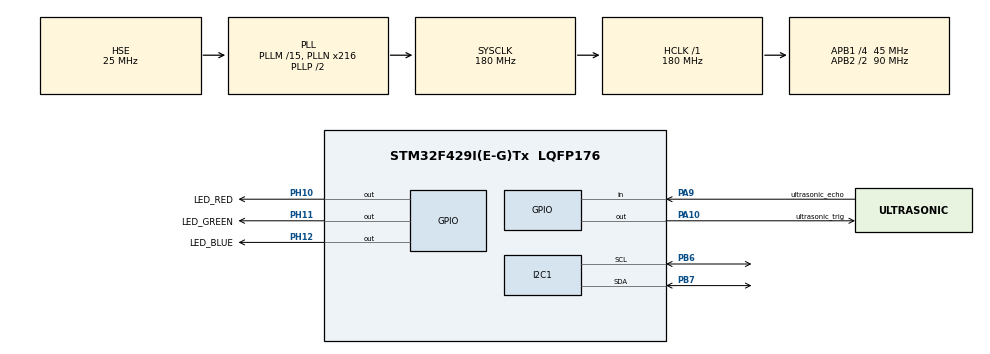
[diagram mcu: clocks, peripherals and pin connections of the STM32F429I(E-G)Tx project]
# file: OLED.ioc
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Mcu.Family=STM32F4
RCC.PLLSourceVirtual=RCC_PLLSOURCE_HSE
RCC.CortexFreq_Value=180000000
PH12.Signal=GPIO_Output
PH10.Signal=GPIO_Output
PH11.Signal=GPIO_Output
PH12.GPIO_Label=LED_BLUE
PH12.GPIO_Speed=GPIO_SPEED_FREQ_HIGH
PH10.PinState=GPIO_PIN_SET
PA10.GPIO_PuPd=GPIO_PULLUP
PA9.GPIO_Label=ultrasonic_echo
RCC.APB1CLKDivider=RCC_HCLK_DIV4
PH10.GPIO_PuPd=GPIO_PULLDOWN
RCC.SYSCLKSource=RCC_SYSCLKSOURCE_PLLCLK
ProjectManager.StackSize=0x400
PH11.GPIO_PuPd=GPIO_PULLDOWN
VP_TIM7_VS_ClockSourceINT.Mode=Enable_Timer
PA13.Signal=SYS_JTMS-SWDIO
PH11.GPIO_Speed=GPIO_SPEED_FREQ_HIGH
ProjectManager.TargetToolchain=STM32CubeIDE
PH0/OSC_IN.Mode=HSE-External-Oscillator
RCC.HCLKFreq_Value=180000000
PH11.PinState=GPIO_PIN_SET
RCC.APB2TimFreq_Value=180000000
PA9.Signal=GPIO_Input
PH11.GPIO_Label=LED_GREEN
PB6.Signal=I2C1_SCL
PH1/OSC_OUT.Signal=RCC_OSC_OUT
PB6.Mode=I2C
RCC.LSE_VALUE=32768
RCC.AHBFreq_Value=180000000
PH10.GPIO_Label=LED_RED
RCC.HSE_VALUE=25000000
PB3.Mode=Trace_Asynchronous_SW
TIM7.Prescaler=179
board=custom
RCC.VCOOutputFreq_Value=360000000
PH0/OSC_IN.Signal=RCC_OSC_IN
RCC.APB2Freq_Value=90000000
PA14.Mode=Trace_Asynchronous_SW
PA10.GPIO_Label=ultrasonic_trig
PB7.Signal=I2C1_SDA
PA13.Mode=Trace_Asynchronous_SW
PH1/OSC_OUT.Mode=HSE-External-Oscillator
Mcu.Name=STM32F429I(E-G)Tx
RCC.48MHZClocksFreq_Value=90000000
PB3.Signal=SYS_JTDO-SWO
RCC.SYSCLKFreq_VALUE=180000000
Mcu.Package=LQFP176
PH10.GPIO_Speed=GPIO_SPEED_FREQ_HIGH
PB7.Mode=I2C
PH12.PinState=GPIO_PIN_SET
PA10.Signal=GPIO_Output
PA14.Signal=SYS_JTCK-SWCLK
ProjectManager.HeapSize=0x200
RCC.HSI_VALUE=16000000
PA10.GPIO_Speed=GPIO_SPEED_FREQ_HIGH
NVIC.PriorityGroup=NVIC_PRIORITYGROUP_4
RCC.APB2CLKDivider=RCC_HCLK_DIV2
RCC.PLLM=15
RCC.PLLN=216
RCC.APB1TimFreq_Value=90000000
PH12.GPIO_PuPd=GPIO_PULLDOWN
RCC.APB1Freq_Value=45000000
NVIC.TIM7_IRQn=true\:0\:0\:false\:false\:true\:true\:true

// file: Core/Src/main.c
/* USER CODE BEGIN Header */
/**
 ******************************************************************************
 * @file           : main.c
 * @brief          : Main program body
 ******************************************************************************
 * @attention
 *
 * <h2><center>&copy; Copyright (c) 2021 STMicroelectronics.
 * All rights reserved.</center></h2>
 *
 * This software component is licensed by ST under BSD 3-Clause license,
 * the "License"; You may not use this file except in compliance with the
 * License. You may obtain a copy of the License at:
 *                        opensource.org/licenses/BSD-3-Clause
 *
 ******************************************************************************
 */
/* USER CODE END Header */
#include "main.h"
#include "i2c.h"
#include "tim.h"
#include "gpio.h"

/* USER CODE BEGIN Includes */
#include "data_code_tbl.h"
#include "oled.h"
#include "delay.h"
#include <stdlib.h>
#include <string.h>
/* USER CODE END Includes */

/* USER CODE BEGIN PV */
uint8_t  first_flag = 1;
uint8_t err = 0;
/* USER CODE END PV */

void SystemClock_Config(void);

int main(void)
{

  /* MCU Configuration--------------------------------------------------------*/

  /* Reset of all peripherals, Initializes the Flash interface and the Systick. */
  HAL_Init();

  /* Configure the system clock */
  SystemClock_Config();

  /* Initialize all configured peripherals */
  MX_GPIO_Init();
  MX_I2C1_Init();
  MX_TIM7_Init();

  /* Infinite loop */
  /* USER CODE BEGIN WHILE */
  	oled_init();
    oled_fill(0xFF);
    HAL_Delay(1000);
    oled_fill(0x00);
	for(unsigned char index = 0; index < 4; index++) {
		for (unsigned char page =0; page < 2; page++) {
			oled_SetPos(31 + 16 * index, page +2);
			HAL_I2C_Mem_Write(&hi2c1, I2C_SLAVE_OLED_ADDRESS, I2C_SLAVE_OLED_DATA, I2C_MEMADD_SIZE_8BIT, &cxdcln[index][page * 16], sizeof(cxdcln[0])/2, 1000);
		}
	}
	while (1) {
		HAL_GPIO_TogglePin(LED_GREEN_GPIO_Port, LED_GREEN_Pin);
		HAL_GPIO_WritePin(ultrasonic_trig_GPIO_Port, ultrasonic_trig_Pin, GPIO_PIN_SET);
		delay_us(20);
		HAL_GPIO_WritePin(ultrasonic_trig_GPIO_Port, ultrasonic_trig_Pin, GPIO_PIN_RESET);
		first_flag = 1;
		while(HAL_GPIO_ReadPin(ultrasonic_echo_GPIO_Port, ultrasonic_echo_Pin) == GPIO_PIN_RESET){
			if (first_flag) {
				first_flag = 0;
				tim7_start();
			}
			if (time_diff() > 0x50000) {
				err = 1;
				break;
			}
		}
		tim7_stop();
		if(err) {
			break;
		}

		first_flag = 1;
		while(HAL_GPIO_ReadPin(ultrasonic_echo_GPIO_Port, ultrasonic_echo_Pin) == GPIO_PIN_SET) {
			if (first_flag) {
				first_flag = 0;
				tim7_start();
			}
			if (time_diff() > 0x50000) {
				err = 1;
				break;
			}
		}
		if(err) {
			tim7_stop();
			break;
		}

		uint32_t diff = time_diff();
		tim7_stop();
		uint32_t dis = 340 * diff / 20000;
     	for(uint8_t index = 0; index < 3; index ++) {
     		for( uint8_t page = 0; page < 2; page++) {
				oled_SetPos(16 * index, page);
				HAL_I2C_Mem_Write(&hi2c1, I2C_SLAVE_OLED_ADDRESS, I2C_SLAVE_OLED_DATA, I2C_MEMADD_SIZE_8BIT, &ceju[index][page * 16], sizeof(ceju[0])/2, 1000);
			}
		}

     	oled_clear(48, 127, 0, 1);
     	uint8_t buff[10] = {0};
     	uint8_t data[16] = {0};
     	itoa(dis, &buff[0], 10);
     	for(uint8_t index = 0; index < sizeof(buff); index++) {
     		if(buff[index] == '\0') {
     			break;
     		}
     		memcpy(data,num[buff[index]-48],sizeof(data));
     		for (uint8_t page = 0; page < 2; page++) {
     			oled_SetPos(48 + 8 * index, page);
				HAL_I2C_Mem_Write(&hi2c1, I2C_SLAVE_OLED_ADDRESS, I2C_SLAVE_OLED_DATA, I2C_MEMADD_SIZE_8BIT, &data[page * 8], sizeof(data)/2, 1000);
     		}

     	}
     	HAL_Delay(500);
    /* USER CODE END WHILE */

}
}

void SystemClock_Config(void)
{
  RCC_OscInitTypeDef RCC_OscInitStruct = {0};
  RCC_ClkInitTypeDef RCC_ClkInitStruct = {0};

  /** Configure the main internal regulator output voltage
  */
  __HAL_RCC_PWR_CLK_ENABLE();
  __HAL_PWR_VOLTAGESCALING_CONFIG(PWR_REGULATOR_VOLTAGE_SCALE1);
  /** Initializes the RCC Oscillators according to the specified parameters
  * in the RCC_OscInitTypeDef structure.
  */
  RCC_OscInitStruct.OscillatorType = RCC_OSCILLATORTYPE_HSE;
  RCC_OscInitStruct.HSEState = RCC_HSE_ON;
  RCC_OscInitStruct.PLL.PLLState = RCC_PLL_ON;
  RCC_OscInitStruct.PLL.PLLSource = RCC_PLLSOURCE_HSE;
  RCC_OscInitStruct.PLL.PLLM = 15;
  RCC_OscInitStruct.PLL.PLLN = 216;
  RCC_OscInitStruct.PLL.PLLP = RCC_PLLP_DIV2;
  RCC_OscInitStruct.PLL.PLLQ = 4;
  if (HAL_RCC_OscConfig(&RCC_OscInitStruct) != HAL_OK)
  {
    Error_Handler();
  }
  /** Activate the Over-Drive mode
  */
  if (HAL_PWREx_EnableOverDrive() != HAL_OK)
  {
    Error_Handler();
  }
  /** Initializes the CPU, AHB and APB buses clocks
  */
  RCC_ClkInitStruct.ClockType = RCC_CLOCKTYPE_HCLK|RCC_CLOCKTYPE_SYSCLK
                              |RCC_CLOCKTYPE_PCLK1|RCC_CLOCKTYPE_PCLK2;
  RCC_ClkInitStruct.SYSCLKSource = RCC_SYSCLKSOURCE_PLLCLK;
  RCC_ClkInitStruct.AHBCLKDivider = RCC_SYSCLK_DIV1;
  RCC_ClkInitStruct.APB1CLKDivider = RCC_HCLK_DIV4;
  RCC_ClkInitStruct.APB2CLKDivider = RCC_HCLK_DIV2;

  if (HAL_RCC_ClockConfig(&RCC_ClkInitStruct, FLASH_LATENCY_5) != HAL_OK)
  {
    Error_Handler();
  }
}

void Error_Handler(void)
{
__disable_irq();
while (1) {
}
}

/************************ (C) COPYRIGHT STMicroelectronics *****END OF FILE****/
